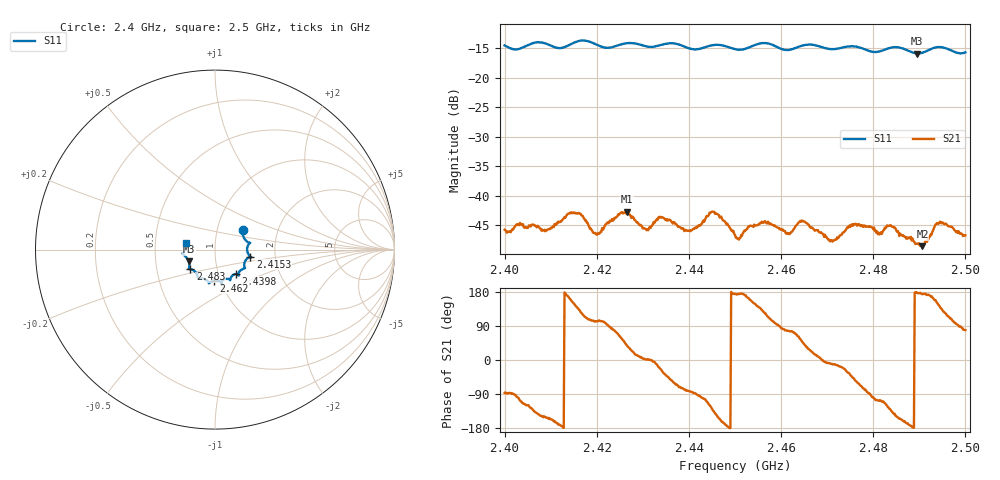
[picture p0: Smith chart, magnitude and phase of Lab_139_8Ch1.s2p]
# Hz S RI R 50
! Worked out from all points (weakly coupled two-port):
!   601 points, 2.4 GHz to 2.5 GHz, reference 50 ohm
!   highest |S21| = -42.70 dB at 2.4265 GHz (marker M1); lowest = -48.6 dB at 2.4907 GHz (marker M2)
!   lowest |S11| = -15.9 dB at 2.4895 GHz (marker M3), VSWR 1.38, Z = 36.9 - j5 ohm
!   |S11| at or under -10 dB: start of sweep to end of sweep
!   S12 and S22 are empty: the file has one direction only
!   S11 on the Smith chart (normalised r, x): 2.4 GHz: 1.33, +0.29; 2.4153 GHz: 1.48, -0.12; 2.4398 GHz: 1.21, -0.34; 2.462 GHz: 0.93, -0.33; 2.483 GHz: 0.74, -0.17; 2.5 GHz: 0.72, +0.06
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2.4e9  0.1548 0.1068  0.000307 -0.00513  0 0  0 0
2.409333e9  0.1898 0.0322  -0.0046 -0.00231  0 0  0 0
2.415333e9  0.1966 -0.0387  -0.00579 0.00421  0 0  0 0
2.416667e9  0.2024 -0.0429  -0.00383 0.00561  0 0  0 0
2.420167e9  0.1832 -0.0469  -0.00105 0.00463  0 0  0 0
2.4265e9  0.1676 -0.1022  0.00569 0.00462  0 0  0 0
2.430667e9  0.1466 -0.113  0.00519 0.000104  0 0  0 0
2.433333e9  0.131 -0.1337  0.00619 -0.00197  0 0  0 0
2.439833e9  0.1153 -0.1363  0.000753 -0.005  0 0  0 0
2.445e9  0.0842 -0.1687  -0.00455 -0.00573  0 0  0 0
2.45e9  0.065 -0.1625  -0.00462 0.000433  0 0  0 0
2.456167e9  0.0386 -0.1932  -0.00358 0.00467  0 0  0 0
2.462e9  -0.00512 -0.1732  0.00121 0.00462  0 0  0 0
2.466667e9  -0.0341 -0.1878  0.00498 0.00201  0 0  0 0
2.471e9  -0.0583 -0.1649  0.00413 -0.000726  0 0  0 0
2.475667e9  -0.0937 -0.1593  0.00377 -0.00412  0 0  0 0
2.483e9  -0.1378 -0.1093  -0.00286 -0.00481  0 0  0 0
2.483333e9  -0.1403 -0.1092  -0.00321 -0.0045  0 0  0 0
2.4895e9  -0.1464 -0.0659  -0.00391 0.000203  0 0  0 0
2.490667e9  -0.1552 -0.0495  -0.00371 0.000388  0 0  0 0
2.494167e9  -0.1808 -0.0222  -0.00477 0.00328  0 0  0 0
2.5e9  -0.1594 0.0392  0.000885 0.00452  0 0  0 0
